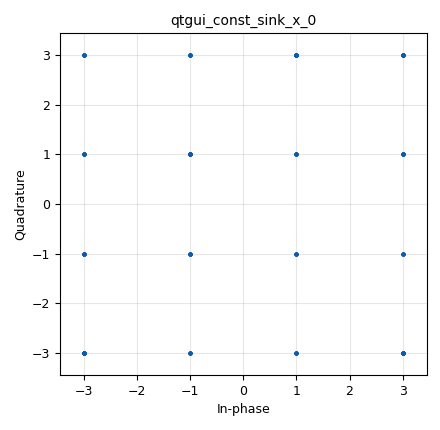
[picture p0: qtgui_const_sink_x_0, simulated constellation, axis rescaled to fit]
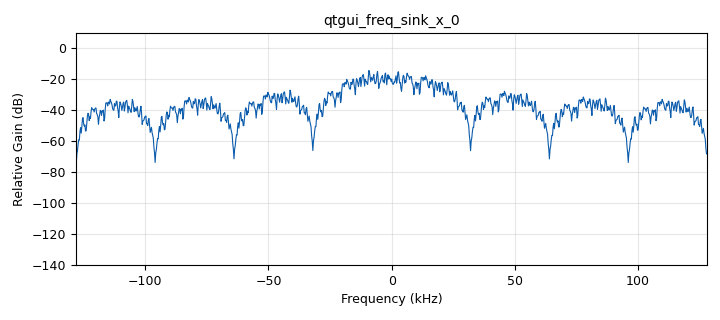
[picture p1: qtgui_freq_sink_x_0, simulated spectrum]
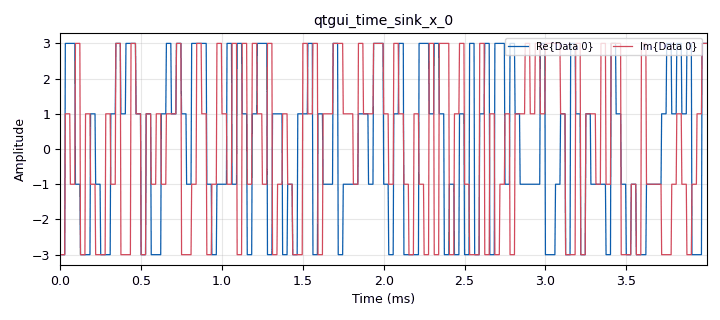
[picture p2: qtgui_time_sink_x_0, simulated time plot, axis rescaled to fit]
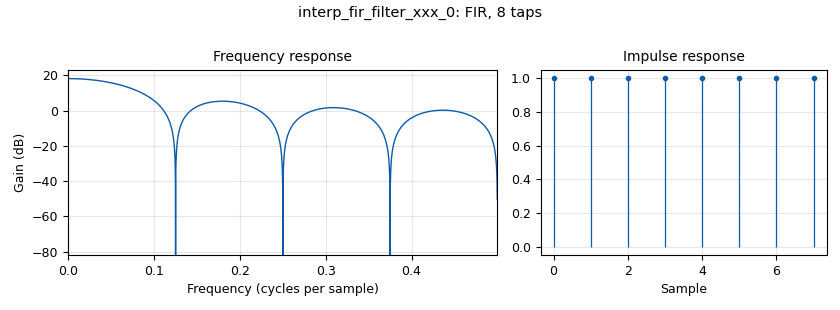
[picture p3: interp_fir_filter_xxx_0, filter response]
options:
  parameters:
    author: radiogis_director
    generate_options: qt_gui
    id: top_block
    output_language: python
    title: top_block
  states: {}

blocks:
- name: A_noise
  id: variable_qtgui_range
  parameters:
    label: Amplitud del ruido
    start: '0'
    step: '0.01'
    stop: '1'
    value: '0.01'
  states: {}
- name: M
  id: variable
  parameters:
    value: len(tabla_de_verdad_constelacion )
  states: {}
- name: Rb
  id: variable
  parameters:
    value: Rs*bps
  states: {}
- name: Rs
  id: variable
  parameters:
    value: '32000'
  states: {state: disabled}
- name: Rs
  id: variable_qtgui_range
  parameters:
    label: Rata de simbolo
    start: 1e3
    step: 1e3
    stop: 200e3
    value: 32e3
  states: {}
- name: Sps
  id: variable
  parameters:
    value: '8'
  states: {}
- name: bps
  id: variable
  parameters:
    value: int(math.log(M,2))
  states: {}
- name: fc
  id: variable
  parameters:
    value: 100e6
  states: {state: disabled}
- name: fc
  id: variable_qtgui_range
  parameters:
    label: Frecuencia Central
    start: '0'
    step: 1e6
    stop: 100e6
    value: 1e6
  states: {}
- name: h
  id: variable
  parameters:
    value: '[1]*Sps'
  states: {}
- name: samp_rate
  id: variable
  parameters:
    value: Rs*Sps
  states: {}
- name: tabla_de_verdad_constelacion
  id: variable
  parameters:
    value: (3+3j,3+1j,3-1j,3-3j,1+3j,1+1j,1-1j,1-3j,-1+3j,-1+1j,-1-1j,-1-3j,-3+3j,-3+1j,-3-1j,-3-3j)
  states: {}
- name: analog_noise_source_x_0
  id: analog_noise_source_x
  parameters:
    amp: A_noise
    noise_type: analog.GR_GAUSSIAN
    seed: '0'
    type: complex
  states: {}
- name: analog_random_source_x_0
  id: analog_random_source_x
  parameters:
    max: '2'
    min: '0'
    num_samps: '1000'
    repeat: 'True'
    type: byte
  states: {}
- name: analog_sig_source_x_0
  id: analog_sig_source_x
  parameters:
    amp: '1'
    freq: fc
    offset: '0'
    phase: '0'
    samp_rate: fc*10
    type: float
    waveform: analog.GR_COS_WAVE
  states: {}
- name: analog_sig_source_x_0_0
  id: analog_sig_source_x
  parameters:
    amp: '1'
    freq: fc
    offset: '0'
    phase: '0'
    samp_rate: fc*10
    type: float
    waveform: analog.GR_SIN_WAVE
  states: {}
- name: blocks_add_xx_0
  id: blocks_add_xx
  parameters:
    type: complex
  states: {}
- name: blocks_complex_to_float_0
  id: blocks_complex_to_float
  parameters: {}
  states: {}
- name: blocks_float_to_complex_0
  id: blocks_float_to_complex
  parameters: {}
  states: {}
- name: blocks_multiply_xx_0
  id: blocks_multiply_xx
  parameters:
    type: float
  states: {}
- name: blocks_multiply_xx_1
  id: blocks_multiply_xx
  parameters:
    type: float
  states: {}
- name: blocks_pack_k_bits_bb_0
  id: blocks_pack_k_bits_bb
  parameters:
    k: '8'
  states: {}
- name: blocks_packed_to_unpacked_xx_0
  id: blocks_packed_to_unpacked_xx
  parameters:
    bits_per_chunk: bps
    endianness: gr.GR_MSB_FIRST
    type: byte
  states: {}
- name: digital_chunks_to_symbols_xx_0
  id: digital_chunks_to_symbols_xx
  parameters:
    dimension: '1'
    in_type: byte
    out_type: complex
    symbol_table: tabla_de_verdad_constelacion
  states: {}
- name: import_0
  id: import
  parameters:
    imports: import math
  states: {}
- name: interp_fir_filter_xxx_0
  id: interp_fir_filter_xxx
  parameters:
    interp: Sps
    taps: h
    type: ccf
  states: {}
- name: qtgui_const_sink_x_0
  id: qtgui_const_sink_x
  parameters:
    size: '1024'
    type: complex
  states: {}
- name: qtgui_freq_sink_x_0
  id: qtgui_freq_sink_x
  parameters:
    average: '0.05'
    bw: samp_rate
    fc: '0'
    fftsize: '1024'
    grid: 'True'
    type: complex
  states: {}
- name: qtgui_time_sink_x_0
  id: qtgui_time_sink_x
  parameters:
    size: '1024'
    srate: samp_rate
    type: complex
  states: {}
- name: virtual_sink_0
  id: virtual_sink
  parameters:
    stream_id: p1
  states: {}
- name: virtual_sink_0_0
  id: virtual_sink
  parameters:
    stream_id: p0
  states: {}
- name: virtual_sink_0_0_0
  id: virtual_sink
  parameters:
    stream_id: p_baseband
  states: {}
- name: virtual_sink_1
  id: virtual_sink
  parameters:
    stream_id: Re
  states: {}
- name: virtual_sink_1_0
  id: virtual_sink
  parameters:
    stream_id: Im
  states: {}
- name: virtual_source_0
  id: virtual_source
  parameters:
    stream_id: p_baseband
  states: {}
- name: virtual_source_0_0
  id: virtual_source
  parameters:
    stream_id: p_baseband
  states: {}
- name: virtual_source_1
  id: virtual_source
  parameters:
    stream_id: Re
  states: {}
- name: virtual_source_1_0
  id: virtual_source
  parameters:
    stream_id: Im
  states: {}

connections:
- [analog_noise_source_x_0, '0', blocks_add_xx_0, '0']
- [analog_random_source_x_0, '0', blocks_pack_k_bits_bb_0, '0']
- [analog_sig_source_x_0, '0', blocks_multiply_xx_1, '1']
- [analog_sig_source_x_0_0, '0', blocks_multiply_xx_0, '1']
- [blocks_add_xx_0, '0', virtual_sink_0, '0']
- [blocks_complex_to_float_0, '0', virtual_sink_1, '0']
- [blocks_complex_to_float_0, '1', virtual_sink_1_0, '0']
- [blocks_float_to_complex_0, '0', blocks_add_xx_0, '1']
- [blocks_float_to_complex_0, '0', virtual_sink_0_0, '0']
- [blocks_multiply_xx_0, '0', blocks_float_to_complex_0, '1']
- [blocks_multiply_xx_1, '0', blocks_float_to_complex_0, '0']
- [blocks_pack_k_bits_bb_0, '0', blocks_packed_to_unpacked_xx_0, '0']
- [blocks_packed_to_unpacked_xx_0, '0', digital_chunks_to_symbols_xx_0, '0']
- [digital_chunks_to_symbols_xx_0, '0', interp_fir_filter_xxx_0, '0']
- [interp_fir_filter_xxx_0, '0', blocks_complex_to_float_0, '0']
- [interp_fir_filter_xxx_0, '0', virtual_sink_0_0_0, '0']
- [virtual_source_0, '0', qtgui_const_sink_x_0, '0']
- [virtual_source_0, '0', qtgui_time_sink_x_0, '0']
- [virtual_source_0_0, '0', qtgui_freq_sink_x_0, '0']
- [virtual_source_1, '0', blocks_multiply_xx_1, '0']
- [virtual_source_1_0, '0', blocks_multiply_xx_0, '0']

metadata:
  file_format: 1
